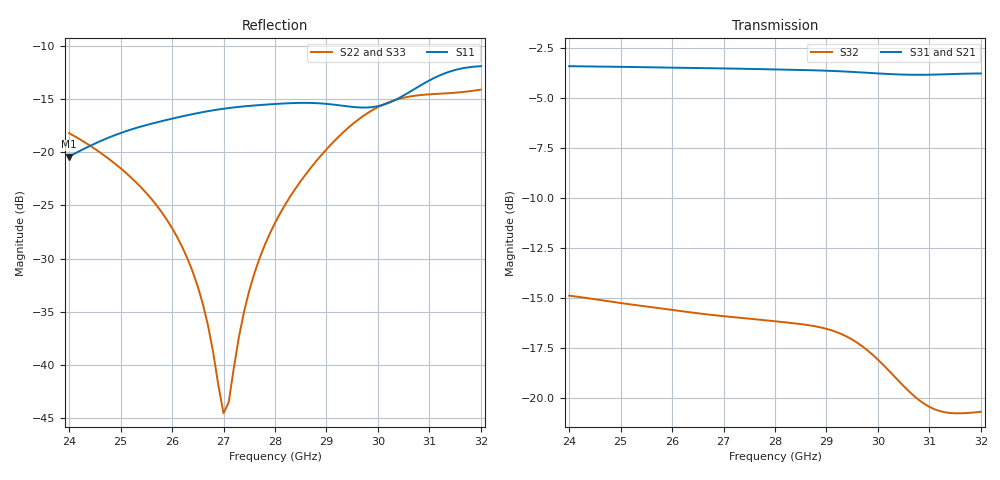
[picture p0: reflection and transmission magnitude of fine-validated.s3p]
# GHz S RI R 50
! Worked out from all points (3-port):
!   81 points, 24 GHz to 32 GHz, reference 50 ohm
!   strongest paths, dB at 24 GHz, 26 GHz, 28 GHz, 30 GHz, 32 GHz:
!     S31: -3.4, -3.5, -3.6, -3.8, -3.8
!     S21: -3.4, -3.5, -3.6, -3.8, -3.8
!     S32: -14.9, -15.6, -16.2, -18.1, -20.7
!   lowest |S11| = -20.4 dB at 24 GHz (marker M1), VSWR 1.21, Z = 47.1 + j8.82 ohm
!   |S11| at or under -10 dB: start of sweep to end of sweep
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24  -0.0216 0.0929  0.6471 0.2019  0.6471 0.2019
    0.6435 0.201  0.1227 -0.00401  -0.1493 0.1007
    0.6435 0.201  -0.1493 0.1007  0.1227 -0.00401
25.3  0.0133 0.1291  0.6734 -0.0296  0.6734 -0.0296
      0.6701 -0.029  0.0666 -0.0279  -0.0571 0.1607
      0.6701 -0.029  -0.0571 0.1607  0.0666 -0.0279
26.1  0.0416 0.1394  0.6495 -0.171  0.6495 -0.171
      0.6462 -0.1696  0.0332 -0.0222  0.0116 0.1648
      0.6462 -0.1696  0.0116 0.1648  0.0332 -0.0222
26.6  0.0606 0.1418  0.6193 -0.2556  0.6193 -0.2556
      0.6165 -0.2536  0.016 -0.0108  0.0536 0.153
      0.6165 -0.2536  0.0536 0.153  0.016 -0.0108
27  0.076 0.1406  0.5871 -0.3197  0.5871 -0.3197
    0.5847 -0.3176  0.0056 0.002  0.0846 0.1359
    0.5847 -0.3176  0.0846 0.1359  0.0056 0.002
27.1  0.0798 0.1399  0.578 -0.3352  0.578 -0.3352
      0.5756 -0.3331  0.00353 0.00568  0.0918 0.1305
      0.5756 -0.3331  0.0918 0.1305  0.00353 0.00568
27.5  0.0938 0.1355  0.5375 -0.3945  0.5375 -0.3945
      0.5353 -0.3922  -0.00218 0.0223  0.1178 0.1049
      0.5353 -0.3922  0.1178 0.1049  -0.00218 0.0223
28  0.1092 0.128  0.478 -0.4621  0.478 -0.4621
    0.4762 -0.4592  -0.00193 0.0465  0.1415 0.0643
    0.4762 -0.4592  0.1415 0.0643  -0.00193 0.0465
29.8  0.1299 0.0968  0.2002 -0.62  0.2002 -0.62
      0.2004 -0.6171  0.1073 0.1085  0.0899 -0.0958
      0.2004 -0.6171  0.0899 -0.0958  0.1073 0.1085
32  0.2442 0.0669  -0.1731 -0.625  -0.1731 -0.625
    -0.1723 -0.623  0.1844 -0.068  -0.0279 -0.088
    -0.1723 -0.623  -0.0279 -0.088  0.1844 -0.068
